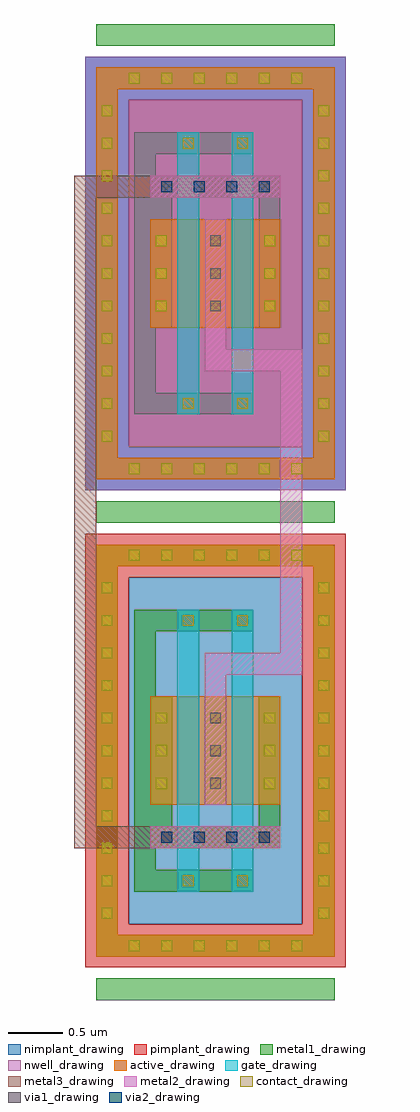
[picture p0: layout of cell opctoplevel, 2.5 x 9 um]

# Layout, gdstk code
import gdstk
lib = gdstk.Library(unit=1e-6, precision=1e-09)
def R(c, l, rs):  # rectangles x0, y0, x1, y1
    for r in rs: c.add(gdstk.rectangle(r[:2], r[2:], *l))
def A(c, l, x, y, w, h, nx, ny, dx, dy):  # array of equal rectangles
    R(c, l, [(x+i*dx, y+j*dy, x+i*dx+w, y+j*dy+h) for i in range(nx) for j in range(ny)])
def P(c, l, *ps):  # polygons
    for p in ps: c.add(gdstk.Polygon(p, *l))
active_drawing = (1, 0)
nwell_drawing = (3, 0)
pimplant_drawing = (4, 0)
nimplant_drawing = (5, 0)
gate_drawing = (6, 0)
contact_drawing = (7, 0)
metal1_drawing = (8, 0)
via1_drawing = (9, 0)
metal2_drawing = (10, 0)
via2_drawing = (11, 0)
metal3_drawing = (12, 0)

opctoplevel = lib.new_cell('opctoplevel')
R(opctoplevel, active_drawing, [(-0.75,-1.4,1.45,-1.2), (-0.75,-1.4,-0.55,2.4), (1.25,-1.4,1.45,2.4), (-0.25,0,0.95,1), (-0.75,2.2,1.45,2.4), (-0.75,3,1.45,3.2), (-0.75,3,-0.55,6.8), (1.25,3,1.45,6.8), (-0.25,4.4,0.95,5.4), (-0.75,6.6,1.45,6.8)])
R(opctoplevel, nwell_drawing, [(-0.85,2.9,1.55,6.9)])
R(opctoplevel, pimplant_drawing, [(-0.85,-1.5,1.55,-1.1), (-0.85,-1.5,-0.45,2.5), (1.15,-1.5,1.55,2.5), (-0.85,2.1,1.55,2.5), (-0.45,3.3,1.15,6.5)])
R(opctoplevel, nimplant_drawing, [(-0.45,-1.1,1.15,2.1), (-0.85,2.9,1.55,3.3), (-0.85,2.9,-0.45,6.9), (1.15,2.9,1.55,6.9), (-0.85,6.5,1.55,6.9)])
R(opctoplevel, gate_drawing, [(0,-0.8,0.2,1.8), (0.5,-0.8,0.7,1.8), (0,3.6,0.2,6.2), (0.5,3.6,0.7,6.2)])
A(opctoplevel, contact_drawing, -0.45, -1.35, 0.1, 0.1, 6, 2, 0.3, 3.6)
A(opctoplevel, contact_drawing, -0.7, -1.05, 0.1, 0.1, 1, 4, 0, 0.3)
A(opctoplevel, contact_drawing, 1.3, -1.05, 0.1, 0.1, 1, 4, 0, 0.3)
A(opctoplevel, contact_drawing, -0.7, 0.15, 0.1, 0.1, 5, 3, 0.5, 0.3)
A(opctoplevel, contact_drawing, -0.7, 1.05, 0.1, 0.1, 1, 4, 0, 0.3)
A(opctoplevel, contact_drawing, 1.3, 1.05, 0.1, 0.1, 1, 4, 0, 0.3)
A(opctoplevel, contact_drawing, -0.45, 3.05, 0.1, 0.1, 6, 2, 0.3, 3.6)
A(opctoplevel, contact_drawing, -0.7, 3.35, 0.1, 0.1, 1, 4, 0, 0.3)
A(opctoplevel, contact_drawing, 1.3, 3.35, 0.1, 0.1, 1, 4, 0, 0.3)
A(opctoplevel, contact_drawing, -0.7, 4.55, 0.1, 0.1, 5, 3, 0.5, 0.3)
A(opctoplevel, contact_drawing, -0.7, 5.45, 0.1, 0.1, 1, 4, 0, 0.3)
A(opctoplevel, contact_drawing, 1.3, 5.45, 0.1, 0.1, 1, 4, 0, 0.3)
R(opctoplevel, contact_drawing, [(0.05,-0.75,0.15,-0.65), (0.55,-0.75,0.65,-0.65), (0.05,1.65,0.15,1.75), (0.55,1.65,0.65,1.75), (0.05,3.65,0.15,3.75), (0.55,3.65,0.65,3.75), (0.05,6.05,0.15,6.15), (0.55,6.05,0.65,6.15)])
A(opctoplevel, metal1_drawing, -0.25, 0, 0.2, 1, 3, 2, 0.5, 4.4)
A(opctoplevel, metal1_drawing, -0.75, 2.2, 2.2, 0.2, 1, 3, 0, 0.4)
R(opctoplevel, metal1_drawing, [(-0.75,-1.8,1.45,-1.6), (-0.75,-1.4,1.45,-1.2), (-0.75,-1.4,-0.55,2.4), (1.25,-1.4,1.45,2.4), (0,-0.8,0.7,-0.6), (-0.25,-0.4,0.95,-0.2), (-0.25,-0.4,0.95,-0.2), (-0.25,-0.2,-0.05,0), (0.75,-0.2,0.95,0), (0,1.6,0.7,1.8), (-0.75,3,-0.55,6.8), (1.25,3,1.45,6.8), (0,3.6,0.7,3.8), (-0.25,5.4,-0.05,5.6), (0.75,5.4,0.95,5.6), (-0.25,5.6,0.95,5.8), (-0.25,5.6,0.95,5.8), (0,6,0.7,6.2), (-0.75,6.6,1.45,6.8), (-0.75,7,1.45,7.2)])
P(opctoplevel, metal1_drawing, [(0,-0.6),(-0.2,-0.6),(-0.2,1.6),(0,1.6),(0,1.8),(-0.4,1.8),(-0.4,-0.8),(0,-0.8)],
  [(0,3.8),(-0.2,3.8),(-0.2,6),(0,6),(0,6.2),(-0.4,6.2),(-0.4,3.6),(0,3.6)])
A(opctoplevel, via1_drawing, -0.15, -0.35, 0.1, 0.1, 4, 2, 0.3, 6)
A(opctoplevel, via1_drawing, 0.3, 0.15, 0.1, 0.1, 1, 3, 0, 0.3)
A(opctoplevel, via1_drawing, 0.3, 4.55, 0.1, 0.1, 1, 3, 0, 0.3)
R(opctoplevel, metal2_drawing, [(-0.25,-0.4,0.95,-0.2), (0.25,0,0.45,1), (0.25,1,0.45,1.2), (0.25,1.2,0.45,1.4), (0.25,4,0.45,4.2), (0.25,4.2,0.45,4.4), (0.25,4.4,0.45,5.4), (-0.25,5.6,0.95,5.8)])
P(opctoplevel, metal2_drawing, [(0.45,1.2),(1.15,1.2),(1.15,4.2),(0.45,4.2),(0.45,4),(0.95,4),(0.95,1.4),(0.45,1.4)])
A(opctoplevel, via2_drawing, -0.15, -0.35, 0.1, 0.1, 4, 2, 0.3, 6)
R(opctoplevel, metal3_drawing, [(-0.25,-0.4,0.95,-0.2), (-0.25,5.6,0.95,5.8)])
P(opctoplevel, metal3_drawing, [(-0.25,-0.2),(-0.75,-0.2),(-0.75,5.6),(-0.25,5.6),(-0.25,5.8),(-0.95,5.8),(-0.95,-0.4),(-0.25,-0.4)])

lib.write_gds('opctoplevel.gds')
